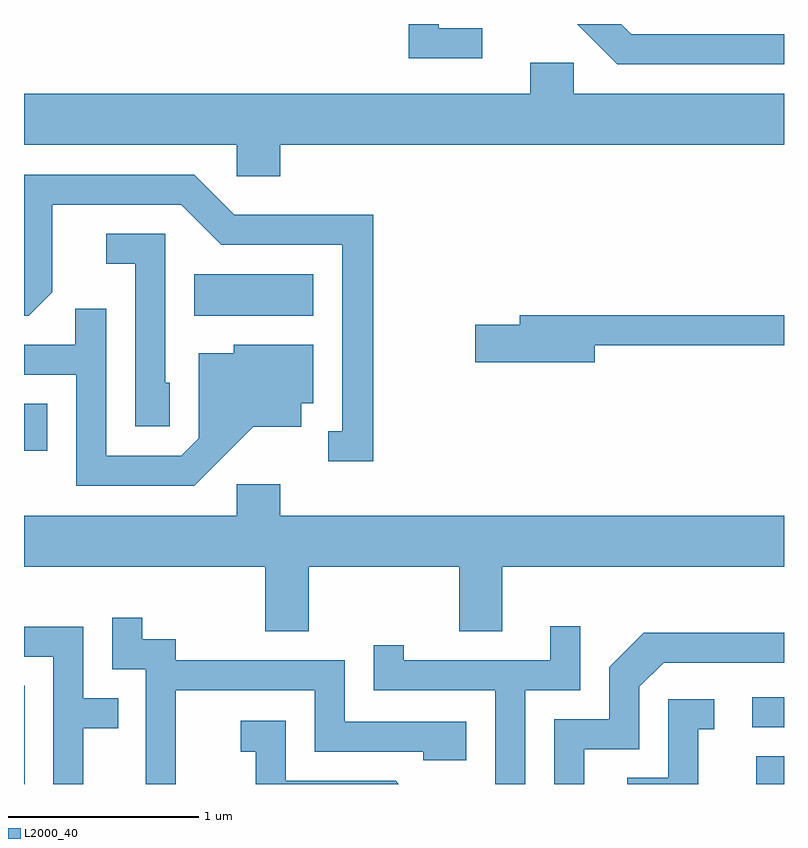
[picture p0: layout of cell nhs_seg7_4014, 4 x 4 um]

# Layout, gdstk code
import gdstk
lib = gdstk.Library(unit=1e-6, precision=1e-09)
def R(c, l, rs):  # rectangles x0, y0, x1, y1
    for r in rs: c.add(gdstk.rectangle(r[:2], r[2:], *l))
def P(c, l, *ps):  # polygons
    for p in ps: c.add(gdstk.Polygon(p, *l))
L2000_40 = (2000, 40)

nhs_seg7_4014 = lib.new_cell('nhs_seg7_4014')
R(nhs_seg7_4014, L2000_40, [(307.611,1744.252,307.614,1744.769), (311.466,1744.252,311.611,1744.399), (311.443,1744.551,311.611,1744.709), (307.611,1746.006,307.734,1746.254), (308.506,1746.716,309.134,1746.934)])
P(nhs_seg7_4014, L2000_40, [(310.023,1748.229),(309.794,1748.229),(309.794,1748.252),(309.636,1748.252),(309.636,1748.071),(310.023,1748.071)],
  [(311.611,1748.199),(310.807,1748.199),(310.754,1748.252),(310.523,1748.252),(310.734,1748.041),(311.611,1748.041)],
  [(308.959,1747.616),(311.611,1747.616),(311.611,1747.884),(310.504,1747.884),(310.504,1748.049),(310.276,1748.049),(310.276,1747.884),(307.611,1747.884),(307.611,1747.616),(308.731,1747.616),(308.731,1747.451),(308.959,1747.451)],
  [(309.449,1747.249),(308.717,1747.249),(308.507,1747.459),(307.611,1747.459),(307.611,1746.716),(307.637,1746.716),(307.759,1746.839),(307.759,1747.301),(308.439,1747.301),(308.649,1747.091),(309.286,1747.091),(309.286,1746.109),(309.213,1746.109),(309.213,1745.951),(309.449,1745.951)],
  [(308.379,1746.364),(308.354,1746.364),(308.354,1747.149),(308.043,1747.149),(308.043,1746.991),(308.196,1746.991),(308.196,1746.136),(308.379,1746.136)],
  [(308.817,1746.131),(309.069,1746.131),(309.069,1746.256),(309.134,1746.256),(309.134,1746.564),(308.716,1746.564),(308.716,1746.519),(308.531,1746.519),(308.531,1746.072),(308.439,1745.979),(308.044,1745.979),(308.044,1746.753),(307.881,1746.753),(307.881,1746.564),(307.611,1746.564),(307.611,1746.406),(307.886,1746.406),(307.886,1745.821),(308.507,1745.821)],
  [(310.614,1746.561),(311.611,1746.561),(311.611,1746.719),(310.221,1746.719),(310.221,1746.669),(309.986,1746.669),(309.986,1746.471),(310.614,1746.471)],
  [(309.109,1745.396),(309.901,1745.396),(309.901,1745.056),(310.129,1745.056),(310.129,1745.396),(311.611,1745.396),(311.611,1745.664),(308.959,1745.664),(308.959,1745.829),(308.731,1745.829),(308.731,1745.664),(307.611,1745.664),(307.611,1745.396),(308.881,1745.396),(308.881,1745.056),(309.109,1745.056)],
  [(308.409,1744.746),(309.141,1744.746),(309.141,1744.421),(309.711,1744.421),(309.711,1744.376),(309.939,1744.376),(309.939,1744.579),(309.299,1744.579),(309.299,1744.904),(308.409,1744.904),(308.409,1745.014),(308.234,1745.014),(308.234,1745.128),(308.076,1745.128),(308.076,1744.856),(308.251,1744.856),(308.251,1744.252),(308.409,1744.252)],
  [(310.249,1744.746),(310.539,1744.746),(310.539,1745.083),(310.381,1745.083),(310.381,1744.904),(309.609,1744.904),(309.609,1744.983),(309.451,1744.983),(309.451,1744.746),(310.091,1744.746),(310.091,1744.252),(310.249,1744.252)],
  [(307.924,1744.546),(308.108,1744.546),(308.108,1744.704),(307.924,1744.704),(307.924,1745.079),(307.611,1745.079),(307.611,1744.921),(307.766,1744.921),(307.766,1744.252),(307.924,1744.252)],
  [(310.559,1744.436),(310.849,1744.436),(310.849,1744.764),(310.977,1744.891),(311.611,1744.891),(311.611,1745.049),(310.874,1745.049),(310.691,1744.867),(310.691,1744.594),(310.401,1744.594),(310.401,1744.252),(310.559,1744.252)],
  [(311.159,1744.541),(311.243,1744.541),(311.243,1744.699),(311.001,1744.699),(311.001,1744.284),(310.786,1744.284),(310.786,1744.252),(311.159,1744.252)],
  [(309.567,1744.269),(308.989,1744.269),(308.989,1744.584),(308.753,1744.584),(308.753,1744.421),(308.831,1744.421),(308.831,1744.252),(309.584,1744.252)])

lib.write_gds('nhs_seg7_4014.gds')
